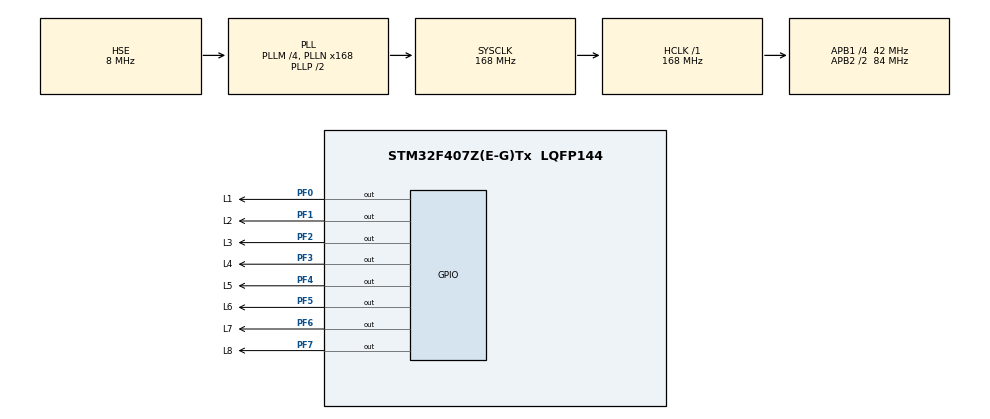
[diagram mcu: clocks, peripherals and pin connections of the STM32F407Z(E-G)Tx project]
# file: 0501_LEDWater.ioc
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Mcu.Family=STM32F4
Mcu.Name=STM32F407Z(E-G)Tx
Mcu.Package=LQFP144
NVIC.PriorityGroup=NVIC_PRIORITYGROUP_4
PA13.Mode=Serial_Wire
PA13.Signal=SYS_JTMS-SWDIO
PA14.Mode=Serial_Wire
PA14.Signal=SYS_JTCK-SWCLK
PC14-OSC32_IN.Mode=LSE-External-Oscillator
PC14-OSC32_IN.Signal=RCC_OSC32_IN
PC15-OSC32_OUT.Mode=LSE-External-Oscillator
PC15-OSC32_OUT.Signal=RCC_OSC32_OUT
PF0.GPIO_Label=L1
PF0.PinState=GPIO_PIN_SET
PF0.Signal=GPIO_Output
PF1.GPIO_Label=L2
PF1.PinState=GPIO_PIN_SET
PF1.Signal=GPIO_Output
PF2.GPIO_Label=L3
PF2.PinState=GPIO_PIN_SET
PF2.Signal=GPIO_Output
PF3.GPIO_Label=L4
PF3.PinState=GPIO_PIN_SET
PF3.Signal=GPIO_Output
PF4.GPIO_Label=L5
PF4.PinState=GPIO_PIN_SET
PF4.Signal=GPIO_Output
PF5.GPIO_Label=L6
PF5.PinState=GPIO_PIN_SET
PF5.Signal=GPIO_Output
PF6.GPIO_Label=L7
PF6.PinState=GPIO_PIN_SET
PF6.Signal=GPIO_Output
PF7.GPIO_Label=L8
PF7.PinState=GPIO_PIN_SET
PF7.Signal=GPIO_Output
PH0-OSC_IN.Mode=HSE-External-Oscillator
PH0-OSC_IN.Signal=RCC_OSC_IN
PH1-OSC_OUT.Mode=HSE-External-Oscillator
PH1-OSC_OUT.Signal=RCC_OSC_OUT
ProjectManager.HeapSize=0x200
ProjectManager.StackSize=0x400
ProjectManager.TargetToolchain=MDK-ARM V5.32
RCC.48MHZClocksFreq_Value=84000000
RCC.AHBFreq_Value=168000000
RCC.APB1CLKDivider=RCC_HCLK_DIV4
RCC.APB1Freq_Value=42000000
RCC.APB1TimFreq_Value=84000000
RCC.APB2CLKDivider=RCC_HCLK_DIV2
RCC.APB2Freq_Value=84000000
RCC.APB2TimFreq_Value=168000000
RCC.CortexFreq_Value=168000000
RCC.HCLKFreq_Value=168000000
RCC.HSE_VALUE=8000000
RCC.HSI_VALUE=16000000
RCC.PLLM=4
RCC.PLLN=168
RCC.PLLSourceVirtual=RCC_PLLSOURCE_HSE
RCC.SYSCLKFreq_VALUE=168000000
RCC.SYSCLKSource=RCC_SYSCLKSOURCE_PLLCLK
RCC.VCOOutputFreq_Value=336000000
board=custom

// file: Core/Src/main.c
/* USER CODE BEGIN Header */
/**
  ******************************************************************************
  * @file           : main.c
  * @brief          : Main program body
  ******************************************************************************
  * @attention
  *
  * Copyright (c) 2026 STMicroelectronics.
  * All rights reserved.
  *
  * This software is licensed under terms that can be found in the LICENSE file
  * in the root directory of this software component.
  * If no LICENSE file comes with this software, it is provided AS-IS.
  *
  ******************************************************************************
  */
/* USER CODE END Header */
#include "main.h"
#include "gpio.h"

void SystemClock_Config(void);

/* USER CODE BEGIN 0 */
void delay(uint32_t i)
{
  while(i--);
}
/* USER CODE END 0 */

int main(void)
{

  /* MCU Configuration--------------------------------------------------------*/

  /* Reset of all peripherals, Initializes the Flash interface and the Systick. */
  HAL_Init();

  /* Configure the system clock */
  SystemClock_Config();

  /* Initialize all configured peripherals */
  MX_GPIO_Init();

  /* Infinite loop */
  /* USER CODE BEGIN WHILE */
while (1)
{
  GPIOF->ODR = 0xFE;  // PF0? L1
  HAL_Delay(500);
  GPIOF->ODR = 0xFD;  // PF1? L2
  HAL_Delay(500);
  GPIOF->ODR = 0xFB;  // PF2? L3
  HAL_Delay(500);
  GPIOF->ODR = 0xF7;  // PF3? L4
  HAL_Delay(500);
  GPIOF->ODR = 0xEF;  // PF4? L5
  HAL_Delay(500);
  GPIOF->ODR = 0xDF;  // PF5? L6
  HAL_Delay(500);
  GPIOF->ODR = 0xBF;  // PF6? L7
  HAL_Delay(500);
  GPIOF->ODR = 0x7F;  // PF7? L8
  HAL_Delay(500);
}
/* USER CODE END WHILE */

  }

void SystemClock_Config(void)
{
  RCC_OscInitTypeDef RCC_OscInitStruct = {0};
  RCC_ClkInitTypeDef RCC_ClkInitStruct = {0};

  /** Configure the main internal regulator output voltage
  */
  __HAL_RCC_PWR_CLK_ENABLE();
  __HAL_PWR_VOLTAGESCALING_CONFIG(PWR_REGULATOR_VOLTAGE_SCALE1);

  /** Initializes the RCC Oscillators according to the specified parameters
  * in the RCC_OscInitTypeDef structure.
  */
  RCC_OscInitStruct.OscillatorType = RCC_OSCILLATORTYPE_HSE;
  RCC_OscInitStruct.HSEState = RCC_HSE_ON;
  RCC_OscInitStruct.PLL.PLLState = RCC_PLL_ON;
  RCC_OscInitStruct.PLL.PLLSource = RCC_PLLSOURCE_HSE;
  RCC_OscInitStruct.PLL.PLLM = 4;
  RCC_OscInitStruct.PLL.PLLN = 168;
  RCC_OscInitStruct.PLL.PLLP = RCC_PLLP_DIV2;
  RCC_OscInitStruct.PLL.PLLQ = 4;
  if (HAL_RCC_OscConfig(&RCC_OscInitStruct) != HAL_OK)
  {
    Error_Handler();
  }

  /** Initializes the CPU, AHB and APB buses clocks
  */
  RCC_ClkInitStruct.ClockType = RCC_CLOCKTYPE_HCLK|RCC_CLOCKTYPE_SYSCLK
                              |RCC_CLOCKTYPE_PCLK1|RCC_CLOCKTYPE_PCLK2;
  RCC_ClkInitStruct.SYSCLKSource = RCC_SYSCLKSOURCE_PLLCLK;
  RCC_ClkInitStruct.AHBCLKDivider = RCC_SYSCLK_DIV1;
  RCC_ClkInitStruct.APB1CLKDivider = RCC_HCLK_DIV4;
  RCC_ClkInitStruct.APB2CLKDivider = RCC_HCLK_DIV2;

  if (HAL_RCC_ClockConfig(&RCC_ClkInitStruct, FLASH_LATENCY_5) != HAL_OK)
  {
    Error_Handler();
  }
}

void Error_Handler(void)
{
  __disable_irq();
  while (1)
  {
  }
}
